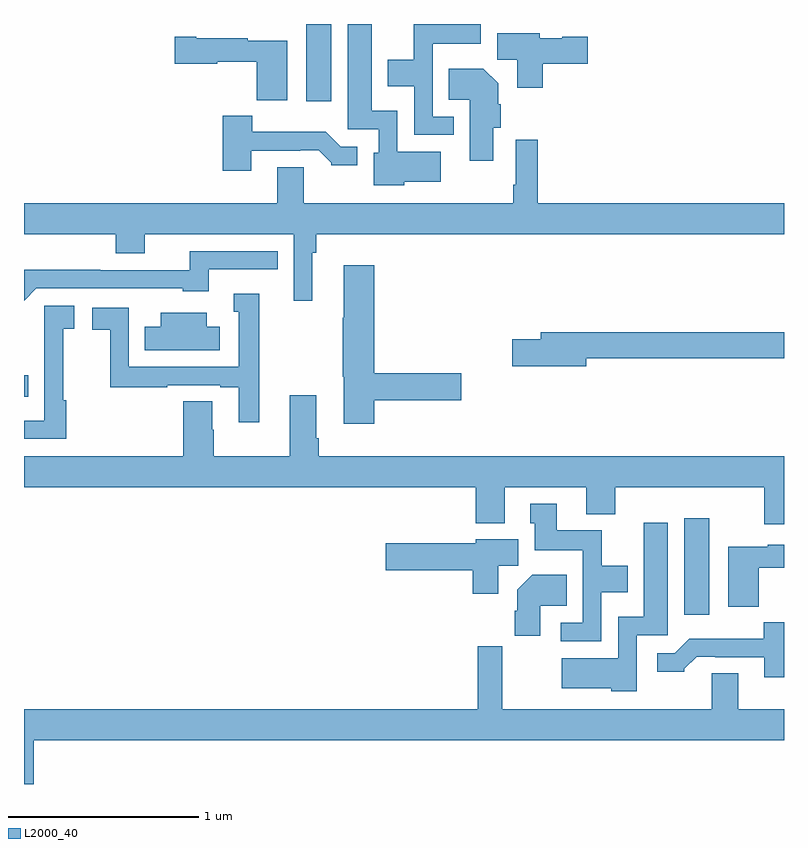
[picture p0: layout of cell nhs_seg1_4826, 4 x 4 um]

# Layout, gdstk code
import gdstk
lib = gdstk.Library(unit=1e-6, precision=1e-09)
def R(c, l, rs):  # rectangles x0, y0, x1, y1
    for r in rs: c.add(gdstk.rectangle(r[:2], r[2:], *l))
def P(c, l, *ps):  # polygons
    for p in ps: c.add(gdstk.Polygon(p, *l))
L2000_40 = (2000, 40)

nhs_seg1_4826 = lib.new_cell('nhs_seg1_4826')
R(nhs_seg1_4826, L2000_40, [(376.475,523.089,376.606,523.597), (373,524.238,373.022,524.351), (374.486,525.792,374.617,526.199)])
P(nhs_seg1_4826, L2000_40, [(375,525.368),(375.193,525.368),(375.193,525.526),(374.964,525.526),(374.964,525.742),(374.83,525.742),(374.83,526.199),(374.705,526.199),(374.705,525.645),(374.868,525.645),(374.868,525.522),(374.84,525.522),(374.84,525.35),(375,525.35)],
  [(375.262,525.711),(375.15,525.711),(375.15,526.094),(375.403,526.094),(375.403,526.199),(375.287,526.199),(375.287,526.198),(375.052,526.198),(375.052,526.012),(374.915,526.012),(374.915,525.872),(375.054,525.872),(375.054,525.615),(375.262,525.615)],
  [(375.731,525.989),(375.967,525.989),(375.967,526.131),(375.834,526.131),(375.834,526.123),(375.714,526.123),(375.714,526.15),(375.491,526.15),(375.491,526.012),(375.596,526.012),(375.596,525.864),(375.731,525.864)],
  [(374.386,526.111),(374.178,526.111),(374.178,526.123),(373.906,526.123),(373.906,526.131),(373.794,526.131),(373.794,525.989),(374.016,525.989),(374.016,526.001),(374.224,526.001),(374.224,525.797),(374.386,525.797)],
  [(375.469,525.654),(375.509,525.654),(375.509,525.776),(375.496,525.776),(375.496,525.886),(375.418,525.964),(375.235,525.964),(375.235,525.8),(375.347,525.8),(375.347,525.48),(375.469,525.48)],
  [(374.197,525.531),(374.453,525.531),(374.453,525.534),(374.552,525.534),(374.616,525.47),(374.616,525.455),(374.755,525.455),(374.755,525.552),(374.667,525.552),(374.589,525.631),(374.2,525.631),(374.2,525.715),(374.045,525.715),(374.045,525.426),(374.197,525.426)],
  [(374.518,524.996),(374.537,524.996),(374.537,525.092),(377,525.092),(377,525.256),(375.704,525.256),(375.704,525.589),(375.588,525.589),(375.588,525.352),(375.576,525.352),(375.576,525.256),(374.473,525.256),(374.473,525.446),(374.333,525.446),(374.333,525.256),(373,525.256),(373,525.092),(373.484,525.092),(373.484,524.993),(373.636,524.993),(373.636,525.092),(374.421,525.092),(374.421,524.742),(374.518,524.742)],
  [(373.065,524.808),(373.836,524.808),(373.836,524.792),(373.972,524.792),(373.972,524.907),(374.336,524.907),(374.336,525.003),(373.873,525.003),(373.873,524.904),(373.4,524.904),(373.4,524.906),(373,524.906),(373,524.743)],
  [(374.843,524.218),(375.301,524.218),(375.301,524.36),(374.843,524.36),(374.843,524.929),(374.684,524.929),(374.684,524.654),(374.677,524.654),(374.677,524.343),(374.684,524.343),(374.684,524.094),(374.843,524.094)],
  [(374.239,524.779),(374.105,524.779),(374.105,524.685),(374.13,524.685),(374.13,524.394),(373.551,524.394),(373.551,524.706),(373.359,524.706),(373.359,524.59),(373.453,524.59),(373.453,524.286),(373.754,524.286),(373.754,524.298),(374.033,524.298),(374.033,524.286),(374.129,524.286),(374.129,524.103),(374.239,524.103)],
  [(373.223,524.219),(373.206,524.219),(373.206,524.595),(373.264,524.595),(373.264,524.716),(373.106,524.716),(373.106,524.44),(373.107,524.44),(373.107,524.112),(373,524.112),(373,524.016),(373.223,524.016)],
  [(374.029,524.605),(373.963,524.605),(373.963,524.68),(373.721,524.68),(373.721,524.605),(373.636,524.605),(373.636,524.483),(374.029,524.483)],
  [(375.958,524.44),(377,524.44),(377,524.576),(375.719,524.576),(375.719,524.54),(375.57,524.54),(375.57,524.398),(375.958,524.398)],
  [(377,523.924),(374.552,523.924),(374.552,524.02),(374.539,524.02),(374.539,524.245),(374.399,524.245),(374.399,523.924),(373.998,523.924),(373.998,524.063),(373.99,524.063),(373.99,524.213),(373.838,524.213),(373.838,523.924),(373,523.924),(373,523.76),(375.377,523.76),(375.377,523.571),(375.529,523.571),(375.529,523.76),(375.959,523.76),(375.959,523.619),(376.112,523.619),(376.112,523.76),(376.895,523.76),(376.895,523.566),(377,523.566)],
  [(376.038,523.208),(376.177,523.208),(376.177,523.348),(376.041,523.348),(376.041,523.534),(375.805,523.534),(375.805,523.675),(375.665,523.675),(375.665,523.572),(375.689,523.572),(375.689,523.43),(375.942,523.43),(375.942,523.047),(375.825,523.047),(375.825,522.951),(376.038,522.951)],
  [(376.224,522.981),(376.387,522.981),(376.387,523.573),(376.262,523.573),(376.262,523.078),(376.128,523.078),(376.128,522.862),(375.831,522.862),(375.831,522.704),(376.092,522.704),(376.092,522.686),(376.224,522.686)],
  [(375.496,523.348),(375.601,523.348),(375.601,523.486),(375.378,523.486),(375.378,523.467),(374.904,523.467),(374.904,523.325),(375.362,523.325),(375.362,523.2),(375.496,523.2)],
  [(376.868,523.337),(377,523.337),(377,523.459),(376.914,523.459),(376.914,523.447),(376.706,523.447),(376.706,523.133),(376.868,523.133)],
  [(375.718,523.136),(375.857,523.136),(375.857,523.3),(375.674,523.3),(375.596,523.222),(375.596,523.112),(375.584,523.112),(375.584,522.978),(375.718,522.978)],
  [(377,523.051),(376.893,523.051),(376.893,522.964),(376.501,522.964),(376.425,522.888),(376.332,522.888),(376.332,522.791),(376.476,522.791),(376.476,522.806),(376.54,522.87),(376.639,522.87),(376.639,522.867),(376.895,522.867),(376.895,522.762),(377,522.762)],
  [(377,522.592),(376.759,522.592),(376.759,522.782),(376.619,522.782),(376.619,522.592),(375.517,522.592),(375.517,522.925),(375.388,522.925),(375.388,522.592),(373,522.592),(373,522.199),(373.052,522.199),(373.052,522.428),(377,522.428)])

lib.write_gds('nhs_seg1_4826.gds')
